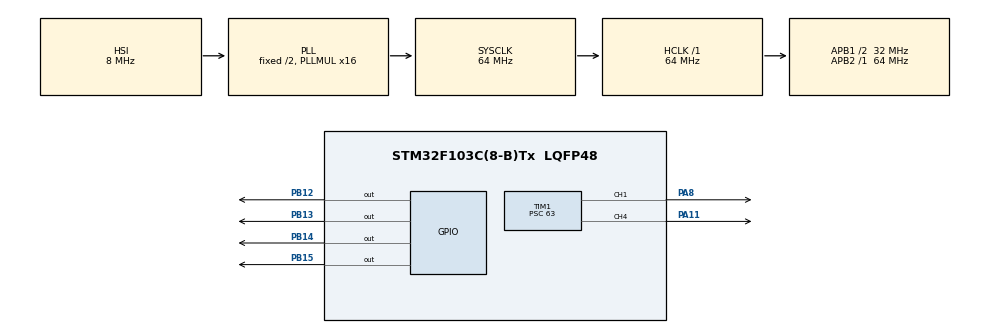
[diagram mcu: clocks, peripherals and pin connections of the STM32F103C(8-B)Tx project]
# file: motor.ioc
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Mcu.Family=STM32F1
Mcu.Name=STM32F103C(8-B)Tx
Mcu.Package=LQFP48
NVIC.PriorityGroup=NVIC_PRIORITYGROUP_4
PA11.Signal=S_TIM1_CH4
PA13.Mode=Serial_Wire
PA13.Signal=SYS_JTMS-SWDIO
PA14.Mode=Serial_Wire
PA14.Signal=SYS_JTCK-SWCLK
PA8.Signal=S_TIM1_CH1
PB12.Signal=GPIO_Output
PB13.Signal=GPIO_Output
PB14.Signal=GPIO_Output
PB15.Signal=GPIO_Output
ProjectManager.HeapSize=0x200
ProjectManager.StackSize=0x400
ProjectManager.TargetToolchain=MDK-ARM V5.32
RCC.AHBFreq_Value=64000000
RCC.APB1CLKDivider=RCC_HCLK_DIV2
RCC.APB1Freq_Value=32000000
RCC.APB1TimFreq_Value=64000000
RCC.APB2Freq_Value=64000000
RCC.APB2TimFreq_Value=64000000
RCC.HCLKFreq_Value=64000000
RCC.PLLMUL=RCC_PLL_MUL16
RCC.SYSCLKFreq_VALUE=64000000
RCC.SYSCLKSource=RCC_SYSCLKSOURCE_PLLCLK
RCC.USBFreq_Value=64000000
SH.S_TIM1_CH1.0=TIM1_CH1,PWM Generation1 CH1
SH.S_TIM1_CH4.0=TIM1_CH4,PWM Generation4 CH4
TIM1.AutoReloadPreload=TIM_AUTORELOAD_PRELOAD_ENABLE
TIM1.Channel-PWM\ Generation1\ CH1=TIM_CHANNEL_1
TIM1.Channel-PWM\ Generation4\ CH4=TIM_CHANNEL_4
TIM1.Period=999
TIM1.Prescaler=63
VP_TIM1_VS_ClockSourceINT.Mode=Internal
board=custom

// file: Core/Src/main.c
/* USER CODE BEGIN Header */
/**
  ******************************************************************************
  * @file           : main.c
  * @brief          : Main program body
  ******************************************************************************
  * @attention
  *
  * Copyright (c) 2026 STMicroelectronics.
  * All rights reserved.
  *
  * This software is licensed under terms that can be found in the LICENSE file
  * in the root directory of this software component.
  * If no LICENSE file comes with this software, it is provided AS-IS.
  *
  ******************************************************************************
  */
/* USER CODE END Header */
#include "main.h"

TIM_HandleTypeDef htim1;

/* USER CODE BEGIN PV */

#include "stm32f1xx_hal.h"

// 绑定定时器与通道（根据你配置的 TIM1 CH1 和 CH4）
#define LEFT_PWM_TIMER  htim1
#define LEFT_CH         TIM_CHANNEL_1
#define RIGHT_PWM_TIMER htim1
#define RIGHT_CH        TIM_CHANNEL_4

// 电机控制函数声明
void Motor_Left_Set(int16_t duty);
void Motor_Right_Set(int16_t duty);
/* USER CODE END PV */
/* USER CODE END PV */

void SystemClock_Config(void);
static void MX_GPIO_Init(void);
static void MX_TIM1_Init(void);

/* USER CODE BEGIN 0 */

void Motor_Left_Set(int16_t duty)
{
    if (duty > 0) {
        HAL_GPIO_WritePin(GPIOB, GPIO_PIN_12, GPIO_PIN_SET);   // AIN1
        HAL_GPIO_WritePin(GPIOB, GPIO_PIN_13, GPIO_PIN_RESET); // AIN2
        __HAL_TIM_SET_COMPARE(&LEFT_PWM_TIMER, LEFT_CH, duty);
    } else if (duty < 0) {
        HAL_GPIO_WritePin(GPIOB, GPIO_PIN_12, GPIO_PIN_RESET);
        HAL_GPIO_WritePin(GPIOB, GPIO_PIN_13, GPIO_PIN_SET);
        __HAL_TIM_SET_COMPARE(&LEFT_PWM_TIMER, LEFT_CH, -duty);
    } else {
        HAL_GPIO_WritePin(GPIOB, GPIO_PIN_12, GPIO_PIN_RESET);
        HAL_GPIO_WritePin(GPIOB, GPIO_PIN_13, GPIO_PIN_RESET);
        __HAL_TIM_SET_COMPARE(&LEFT_PWM_TIMER, LEFT_CH, 0);
    }
}

void Motor_Right_Set(int16_t duty)
{
    if (duty > 0) {
        HAL_GPIO_WritePin(GPIOB, GPIO_PIN_14, GPIO_PIN_SET);   // BIN1
        HAL_GPIO_WritePin(GPIOB, GPIO_PIN_15, GPIO_PIN_RESET); // BIN2
        __HAL_TIM_SET_COMPARE(&RIGHT_PWM_TIMER, RIGHT_CH, duty);
    } else if (duty < 0) {
        HAL_GPIO_WritePin(GPIOB, GPIO_PIN_14, GPIO_PIN_RESET);
        HAL_GPIO_WritePin(GPIOB, GPIO_PIN_15, GPIO_PIN_SET);
        __HAL_TIM_SET_COMPARE(&RIGHT_PWM_TIMER, RIGHT_CH, -duty);
    } else {
        HAL_GPIO_WritePin(GPIOB, GPIO_PIN_14, GPIO_PIN_RESET);
        HAL_GPIO_WritePin(GPIOB, GPIO_PIN_15, GPIO_PIN_RESET);
        __HAL_TIM_SET_COMPARE(&RIGHT_PWM_TIMER, RIGHT_CH, 0);
    }
}

/* USER CODE END 0 */

int main(void)
{

  /* MCU Configuration--------------------------------------------------------*/

  /* Reset of all peripherals, Initializes the Flash interface and the Systick. */
  HAL_Init();

  /* Configure the system clock */
  SystemClock_Config();

  /* Initialize all configured peripherals */
  MX_GPIO_Init();
  MX_TIM1_Init();
  /* USER CODE BEGIN 2 */

  HAL_TIM_PWM_Start(&htim1, TIM_CHANNEL_1); // 启动左轮 PWM (PA8)
  HAL_TIM_PWM_Start(&htim1, TIM_CHANNEL_4); // 启动右轮 PWM (PA11)

  /* USER CODE END 2 */

  /* Infinite loop */
  while (1)
  {

    /* USER CODE BEGIN 3 */
		/* USER CODE BEGIN 3 */
  Motor_Left_Set(500);  // 左轮正转 50%
  //Motor_Right_Set(300); // 右轮正转 30%
  //HAL_Delay(2000);

 // Motor_Left_Set(0);    // 停止
  //Motor_Right_Set(0);
  //HAL_Delay(1000);

  //Motor_Left_Set(-400); // 反转
  //Motor_Right_Set(-400);
  //HAL_Delay(2000);

  //Motor_Left_Set(0);
  //Motor_Right_Set(0);
  //HAL_Delay(1000);
  /* USER CODE END 3 */
  }
  /* USER CODE END 3 */
}

void SystemClock_Config(void)
{
  RCC_OscInitTypeDef RCC_OscInitStruct = {0};
  RCC_ClkInitTypeDef RCC_ClkInitStruct = {0};

  /** Initializes the RCC Oscillators according to the specified parameters
  * in the RCC_OscInitTypeDef structure.
  */
  RCC_OscInitStruct.OscillatorType = RCC_OSCILLATORTYPE_HSI;
  RCC_OscInitStruct.HSIState = RCC_HSI_ON;
  RCC_OscInitStruct.HSICalibrationValue = RCC_HSICALIBRATION_DEFAULT;
  RCC_OscInitStruct.PLL.PLLState = RCC_PLL_ON;
  RCC_OscInitStruct.PLL.PLLSource = RCC_PLLSOURCE_HSI_DIV2;
  RCC_OscInitStruct.PLL.PLLMUL = RCC_PLL_MUL16;
  if (HAL_RCC_OscConfig(&RCC_OscInitStruct) != HAL_OK)
  {
    Error_Handler();
  }

  /** Initializes the CPU, AHB and APB buses clocks
  */
  RCC_ClkInitStruct.ClockType = RCC_CLOCKTYPE_HCLK|RCC_CLOCKTYPE_SYSCLK
                              |RCC_CLOCKTYPE_PCLK1|RCC_CLOCKTYPE_PCLK2;
  RCC_ClkInitStruct.SYSCLKSource = RCC_SYSCLKSOURCE_PLLCLK;
  RCC_ClkInitStruct.AHBCLKDivider = RCC_SYSCLK_DIV1;
  RCC_ClkInitStruct.APB1CLKDivider = RCC_HCLK_DIV2;
  RCC_ClkInitStruct.APB2CLKDivider = RCC_HCLK_DIV1;

  if (HAL_RCC_ClockConfig(&RCC_ClkInitStruct, FLASH_LATENCY_2) != HAL_OK)
  {
    Error_Handler();
  }
}

static void MX_TIM1_Init(void)
{

  TIM_ClockConfigTypeDef sClockSourceConfig = {0};
  TIM_MasterConfigTypeDef sMasterConfig = {0};
  TIM_OC_InitTypeDef sConfigOC = {0};
  TIM_BreakDeadTimeConfigTypeDef sBreakDeadTimeConfig = {0};

  htim1.Instance = TIM1;
  htim1.Init.Prescaler = 63;
  htim1.Init.CounterMode = TIM_COUNTERMODE_UP;
  htim1.Init.Period = 999;
  htim1.Init.ClockDivision = TIM_CLOCKDIVISION_DIV1;
  htim1.Init.RepetitionCounter = 0;
  htim1.Init.AutoReloadPreload = TIM_AUTORELOAD_PRELOAD_ENABLE;
  if (HAL_TIM_Base_Init(&htim1) != HAL_OK)
  {
    Error_Handler();
  }
  sClockSourceConfig.ClockSource = TIM_CLOCKSOURCE_INTERNAL;
  if (HAL_TIM_ConfigClockSource(&htim1, &sClockSourceConfig) != HAL_OK)
  {
    Error_Handler();
  }
  if (HAL_TIM_PWM_Init(&htim1) != HAL_OK)
  {
    Error_Handler();
  }
  sMasterConfig.MasterOutputTrigger = TIM_TRGO_RESET;
  sMasterConfig.MasterSlaveMode = TIM_MASTERSLAVEMODE_DISABLE;
  if (HAL_TIMEx_MasterConfigSynchronization(&htim1, &sMasterConfig) != HAL_OK)
  {
    Error_Handler();
  }
  sConfigOC.OCMode = TIM_OCMODE_PWM1;
  sConfigOC.Pulse = 0;
  sConfigOC.OCPolarity = TIM_OCPOLARITY_HIGH;
  sConfigOC.OCNPolarity = TIM_OCNPOLARITY_HIGH;
  sConfigOC.OCFastMode = TIM_OCFAST_DISABLE;
  sConfigOC.OCIdleState = TIM_OCIDLESTATE_RESET;
  sConfigOC.OCNIdleState = TIM_OCNIDLESTATE_RESET;
  if (HAL_TIM_PWM_ConfigChannel(&htim1, &sConfigOC, TIM_CHANNEL_1) != HAL_OK)
  {
    Error_Handler();
  }
  if (HAL_TIM_PWM_ConfigChannel(&htim1, &sConfigOC, TIM_CHANNEL_4) != HAL_OK)
  {
    Error_Handler();
  }
  sBreakDeadTimeConfig.OffStateRunMode = TIM_OSSR_DISABLE;
  sBreakDeadTimeConfig.OffStateIDLEMode = TIM_OSSI_DISABLE;
  sBreakDeadTimeConfig.LockLevel = TIM_LOCKLEVEL_OFF;
  sBreakDeadTimeConfig.DeadTime = 0;
  sBreakDeadTimeConfig.BreakState = TIM_BREAK_DISABLE;
  sBreakDeadTimeConfig.BreakPolarity = TIM_BREAKPOLARITY_HIGH;
  sBreakDeadTimeConfig.AutomaticOutput = TIM_AUTOMATICOUTPUT_DISABLE;
  if (HAL_TIMEx_ConfigBreakDeadTime(&htim1, &sBreakDeadTimeConfig) != HAL_OK)
  {
    Error_Handler();
  }
  HAL_TIM_MspPostInit(&htim1);

}

static void MX_GPIO_Init(void)
{
  GPIO_InitTypeDef GPIO_InitStruct = {0};

  /* GPIO Ports Clock Enable */
  __HAL_RCC_GPIOB_CLK_ENABLE();
  __HAL_RCC_GPIOA_CLK_ENABLE();

  /*Configure GPIO pin Output Level */
  HAL_GPIO_WritePin(GPIOB, GPIO_PIN_12|GPIO_PIN_13|GPIO_PIN_14|GPIO_PIN_15, GPIO_PIN_RESET);

  /*Configure GPIO pins : PB12 PB13 PB14 PB15 */
  GPIO_InitStruct.Pin = GPIO_PIN_12|GPIO_PIN_13|GPIO_PIN_14|GPIO_PIN_15;
  GPIO_InitStruct.Mode = GPIO_MODE_OUTPUT_PP;
  GPIO_InitStruct.Pull = GPIO_NOPULL;
  GPIO_InitStruct.Speed = GPIO_SPEED_FREQ_LOW;
  HAL_GPIO_Init(GPIOB, &GPIO_InitStruct);

}

void Error_Handler(void)
{
  __disable_irq();
  while (1)
  {
  }
}
